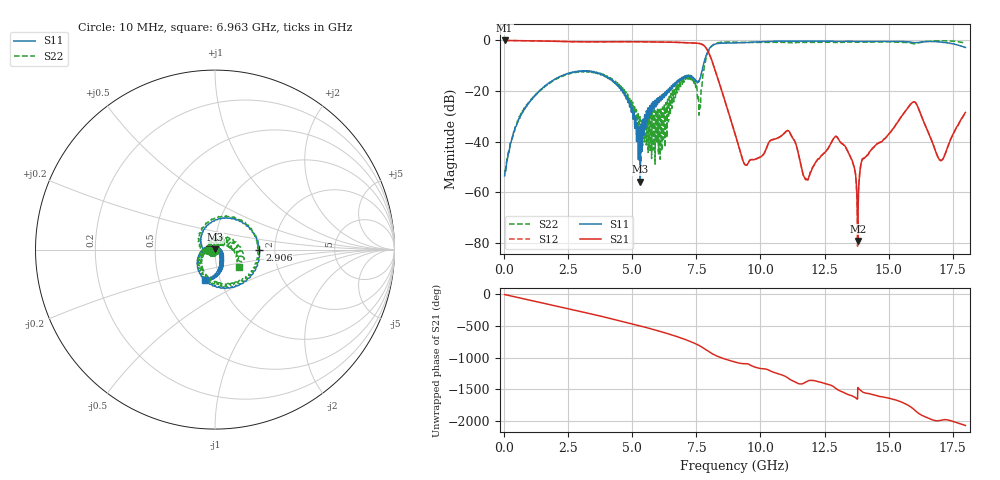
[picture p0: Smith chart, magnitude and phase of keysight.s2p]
!Keysight Technologies,E5080B,MY59500459,A.17.35.16
!Date: Friday, August 22, 2025 11:25:17
!Correction: S11(C  2-Port  )
!S21(C  2-Port  )
!S12(C  2-Port  )
!S22(C  2-Port  )
!S2P File: Measurements: S11, S21, S12, S22:
# Hz S  dB  R 50
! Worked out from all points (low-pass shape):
!   2001 points, 10 MHz to 18 GHz, reference 50 ohm
!   highest |S21| = -0.02 dB at 10 MHz (marker M1); lowest = -79.1 dB at 13.8 GHz (marker M2)
!   |S21| within 3 dB of the highest: start of sweep to 7.878 GHz
!   lowest |S11| = -55.7 dB at 5.308 GHz (marker M3), VSWR 1.00, Z = 50.1 + j0.154 ohm
!   |S11| at or under -10 dB: start of sweep to 7.764 GHz
!   |S22| runs from -51.6 to -0.1 dB; largest |S21 - S12| = 0.00076
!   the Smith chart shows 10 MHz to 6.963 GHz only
!   S11 on the Smith chart (normalised r, x): 10 MHz: 1.00, -0.00; 2.906 GHz: 1.66, -0.02; 6.963 GHz: 0.85, -0.30
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1e7  -53.51 -6.8  -0.02 -0.9  -0.02 -0.9  -51.48 -11.2
1.12538e9  -22.57 165.1  -0.18 -101.9  -0.18 -101.9  -22.39 -179.1
1.997895e9  -15.18 80.4  -0.35 179.1  -0.35 179.1  -15.33 96.2
2.90639e9  -12.14 -1.0  -0.54 96.5  -0.54 96.5  -12.42 12.5
3.01433e9  -12.22 -11.4  -0.54 86.6  -0.54 86.6  -12.39 4.8
4.066745e9  -14.68 -105.5  -0.52 -12.2  -0.52 -12.2  -14.36 -93.4
5.308055e9  -55.73 70.3  -0.52 -138.2  -0.52 -138.2  -34.02 -134.9
6.009665e9  -22.54 -55.8  -0.65 144.2  -0.64 144.2  -36.11 -85.9
6.963135e9  -15.03 -108.0  -0.85 22.0  -0.85 22.0  -15.63 -35.5
7.592785e9  -16.34 -132.3  -1.18 -84.9  -1.17 -84.9  -26.77 -171.4
8.21344e9  -1.52 154.3  -11.24 121.8  -11.23 121.9  -1.33 -105.3
9.005e9  -0.98 43.8  -36.86 11.5  -36.85 11.5  -0.66 138.2
1.030928e10  -0.45 -89.7  -40.58 -113.8  -40.59 -113.8  -0.77 -3.0
1.112782e10  -0.35 -156.0  -36.03 101.7  -36.02 101.5  -0.75 -85.7
1.200933e10  -0.29 146.0  -50.82 81.1  -50.69 81.5  -0.69 -162.5
1.29718e10  -0.39 91.6  -38.03 -54.7  -37.98 -54.5  -0.73 129.6
1.379934e10  -0.41 49.4  -79.13 -35.0  -76.88 -34.4  -0.68 80.0
1.500466e10  -0.37 -10.9  -37.01 159.3  -37.00 159.0  -0.56 15.7
1.598512e10  -0.85 -63.3  -24.25 -16.5  -24.22 -16.6  -1.32 -33.5
1.662376e10  -0.45 -100.6  -38.11 -170.3  -38.11 -170.7  -0.29 -65.9
1.708251e10  -0.69 -135.3  -47.22 173.0  -47.19 174.0  -0.14 -95.4
1.8e10  -2.77 136.9  -28.41 87.5  -28.48 88.1  -1.15 -168.2
